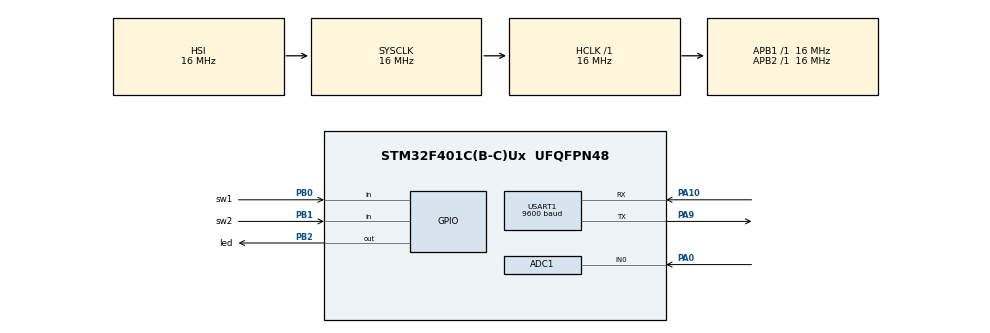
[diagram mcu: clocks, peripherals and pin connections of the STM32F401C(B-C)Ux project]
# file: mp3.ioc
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ADC1.Channel-0\#ChannelRegularConversion=ADC_CHANNEL_0
ADC1.NbrOfConversionFlag=1
ADC1.Rank-0\#ChannelRegularConversion=1
ADC1.SamplingTime-0\#ChannelRegularConversion=ADC_SAMPLETIME_3CYCLES
ADC1.master=1
Mcu.Family=STM32F4
Mcu.Name=STM32F401C(B-C)Ux
Mcu.Package=UFQFPN48
Mcu.UserConstants=adc1,$$_ADC1_IP_HANDLE_$$
NVIC.PriorityGroup=NVIC_PRIORITYGROUP_4
PA0-WKUP.Signal=ADCx_IN0
PA10.Mode=Asynchronous
PA10.Signal=USART1_RX
PA9.Mode=Asynchronous
PA9.Signal=USART1_TX
PB0.GPIO_Label=sw1
PB0.Signal=GPIO_Input
PB1.GPIO_Label=sw2
PB1.Signal=GPIO_Input
PB2.GPIO_Label=led
PB2.Signal=GPIO_Output
ProjectManager.HeapSize=0x200
ProjectManager.StackSize=0x400
ProjectManager.TargetToolchain=STM32CubeIDE
RCC.AHBFreq_Value=16000000
RCC.APB1Freq_Value=16000000
RCC.APB2Freq_Value=16000000
RCC.CortexFreq_Value=16000000
RCC.HSE_VALUE=25000000
RCC.HSI_VALUE=16000000
RCC.LSE_VALUE=32768
RCC.SYSCLKFreq_VALUE=16000000
RCC.VCOOutputFreq_Value=192000000
SH.ADCx_IN0.0=ADC1_IN0,IN0
USART1.BaudRate=9600
USART1.VirtualMode=VM_ASYNC
board=custom

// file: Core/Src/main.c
/* USER CODE BEGIN Header */
/**
  ******************************************************************************
  * @file           : main.c
  * @brief          : Main program body
  ******************************************************************************
  * @attention
  *
  * Copyright (c) 2023 STMicroelectronics.
  * All rights reserved.
  *
  * This software is licensed under terms that can be found in the LICENSE file
  * in the root directory of this software component.
  * If no LICENSE file comes with this software, it is provided AS-IS.
  *
  ******************************************************************************
  */
/* USER CODE END Header */
#include "main.h"

/* USER CODE BEGIN Includes */
#include "uart.h"
#include "adc.h"
#include "dfplayer.h"
/* USER CODE END Includes */

/* USER CODE BEGIN PD */

#define musica 1
#define temp_alta 2
#define temp_baja 3
#define suiche_pres 4
#define bienvenida 5

#define sw1 HAL_GPIO_ReadPin(sw1_GPIO_Port, sw1_Pin)
#define sw2 HAL_GPIO_ReadPin(sw2_GPIO_Port, sw2_Pin)

/* USER CODE END PD */

ADC_HandleTypeDef hadc1;

UART_HandleTypeDef huart1;

/* USER CODE BEGIN PV */
uint16_t codigo;
float temperatura;

/* USER CODE END PV */

void SystemClock_Config(void);
static void MX_GPIO_Init(void);
static void MX_ADC1_Init(void);
static void MX_USART1_UART_Init(void);

int main(void)
{

  /* MCU Configuration--------------------------------------------------------*/

  /* Reset of all peripherals, Initializes the Flash interface and the Systick. */
  HAL_Init();

  /* Configure the system clock */
  SystemClock_Config();

  /* Initialize all configured peripherals */
  MX_GPIO_Init();
  MX_ADC1_Init();
  MX_USART1_UART_Init();
  /* USER CODE BEGIN 2 */
  HAL_Delay(500);
  mp3_inicializa();
  HAL_Delay(200);

  mp3_play_x(bienvenida);

  /* USER CODE END 2 */

  /* Infinite loop */
  /* USER CODE BEGIN WHILE */
  while (1)
  {
     	  codigo=ADC_Read();
	  	  temperatura=codigo*3.3*100.0/4095.0;

	  	  if (temperatura>60)
	  	    {
	  	    mp3_play_x(temp_alta);
	  	    HAL_Delay(5000);
	  	    }
	  	    else if (temperatura<20)
	  	    {
	  	     mp3_play_x(temp_baja);
	  	    HAL_Delay(4000);
	  	    }

	  	    if (sw1==0)
	  	    {
	  	     mp3_volumen_x(20);
	  	     mp3_play_x(suiche_pres);
	  	    HAL_Delay(2000);
	  	      }

	  	    if (sw2==0)
	  	    {
	  	     mp3_volumen_x(30);
	  	     mp3_play_x(musica);
	  	    HAL_Delay(2000);
	  	      }

	        HAL_GPIO_TogglePin(led_GPIO_Port, led_Pin);
	  	    HAL_Delay(500);

    /* USER CODE END WHILE */

  }
}

void SystemClock_Config(void)
{
  RCC_OscInitTypeDef RCC_OscInitStruct = {0};
  RCC_ClkInitTypeDef RCC_ClkInitStruct = {0};

  /** Configure the main internal regulator output voltage
  */
  __HAL_RCC_PWR_CLK_ENABLE();
  __HAL_PWR_VOLTAGESCALING_CONFIG(PWR_REGULATOR_VOLTAGE_SCALE2);

  /** Initializes the RCC Oscillators according to the specified parameters
  * in the RCC_OscInitTypeDef structure.
  */
  RCC_OscInitStruct.OscillatorType = RCC_OSCILLATORTYPE_HSI;
  RCC_OscInitStruct.HSIState = RCC_HSI_ON;
  RCC_OscInitStruct.HSICalibrationValue = RCC_HSICALIBRATION_DEFAULT;
  RCC_OscInitStruct.PLL.PLLState = RCC_PLL_NONE;
  if (HAL_RCC_OscConfig(&RCC_OscInitStruct) != HAL_OK)
  {
    Error_Handler();
  }

  /** Initializes the CPU, AHB and APB buses clocks
  */
  RCC_ClkInitStruct.ClockType = RCC_CLOCKTYPE_HCLK|RCC_CLOCKTYPE_SYSCLK
                              |RCC_CLOCKTYPE_PCLK1|RCC_CLOCKTYPE_PCLK2;
  RCC_ClkInitStruct.SYSCLKSource = RCC_SYSCLKSOURCE_HSI;
  RCC_ClkInitStruct.AHBCLKDivider = RCC_SYSCLK_DIV1;
  RCC_ClkInitStruct.APB1CLKDivider = RCC_HCLK_DIV1;
  RCC_ClkInitStruct.APB2CLKDivider = RCC_HCLK_DIV1;

  if (HAL_RCC_ClockConfig(&RCC_ClkInitStruct, FLASH_LATENCY_0) != HAL_OK)
  {
    Error_Handler();
  }
}

static void MX_ADC1_Init(void)
{

  ADC_ChannelConfTypeDef sConfig = {0};

  /** Configure the global features of the ADC (Clock, Resolution, Data Alignment and number of conversion)
  */
  hadc1.Instance = ADC1;
  hadc1.Init.ClockPrescaler = ADC_CLOCK_SYNC_PCLK_DIV2;
  hadc1.Init.Resolution = ADC_RESOLUTION_12B;
  hadc1.Init.ScanConvMode = DISABLE;
  hadc1.Init.ContinuousConvMode = DISABLE;
  hadc1.Init.DiscontinuousConvMode = DISABLE;
  hadc1.Init.ExternalTrigConvEdge = ADC_EXTERNALTRIGCONVEDGE_NONE;
  hadc1.Init.ExternalTrigConv = ADC_SOFTWARE_START;
  hadc1.Init.DataAlign = ADC_DATAALIGN_RIGHT;
  hadc1.Init.NbrOfConversion = 1;
  hadc1.Init.DMAContinuousRequests = DISABLE;
  hadc1.Init.EOCSelection = ADC_EOC_SINGLE_CONV;
  if (HAL_ADC_Init(&hadc1) != HAL_OK)
  {
    Error_Handler();
  }

  /** Configure for the selected ADC regular channel its corresponding rank in the sequencer and its sample time.
  */
  sConfig.Channel = ADC_CHANNEL_0;
  sConfig.Rank = 1;
  sConfig.SamplingTime = ADC_SAMPLETIME_3CYCLES;
  if (HAL_ADC_ConfigChannel(&hadc1, &sConfig) != HAL_OK)
  {
    Error_Handler();
  }

}

static void MX_USART1_UART_Init(void)
{

  huart1.Instance = USART1;
  huart1.Init.BaudRate = 9600;
  huart1.Init.WordLength = UART_WORDLENGTH_8B;
  huart1.Init.StopBits = UART_STOPBITS_1;
  huart1.Init.Parity = UART_PARITY_NONE;
  huart1.Init.Mode = UART_MODE_TX_RX;
  huart1.Init.HwFlowCtl = UART_HWCONTROL_NONE;
  huart1.Init.OverSampling = UART_OVERSAMPLING_16;
  if (HAL_UART_Init(&huart1) != HAL_OK)
  {
    Error_Handler();
  }

}

static void MX_GPIO_Init(void)
{
  GPIO_InitTypeDef GPIO_InitStruct = {0};

  /* GPIO Ports Clock Enable */
  __HAL_RCC_GPIOA_CLK_ENABLE();
  __HAL_RCC_GPIOB_CLK_ENABLE();

  /*Configure GPIO pin Output Level */
  HAL_GPIO_WritePin(led_GPIO_Port, led_Pin, GPIO_PIN_RESET);

  /*Configure GPIO pins : sw1_Pin sw2_Pin */
  GPIO_InitStruct.Pin = sw1_Pin|sw2_Pin;
  GPIO_InitStruct.Mode = GPIO_MODE_INPUT;
  GPIO_InitStruct.Pull = GPIO_NOPULL;
  HAL_GPIO_Init(GPIOB, &GPIO_InitStruct);

  /*Configure GPIO pin : led_Pin */
  GPIO_InitStruct.Pin = led_Pin;
  GPIO_InitStruct.Mode = GPIO_MODE_OUTPUT_PP;
  GPIO_InitStruct.Pull = GPIO_NOPULL;
  GPIO_InitStruct.Speed = GPIO_SPEED_FREQ_LOW;
  HAL_GPIO_Init(led_GPIO_Port, &GPIO_InitStruct);

}

void Error_Handler(void)
{
  __disable_irq();
  while (1)
  {
  }
}
